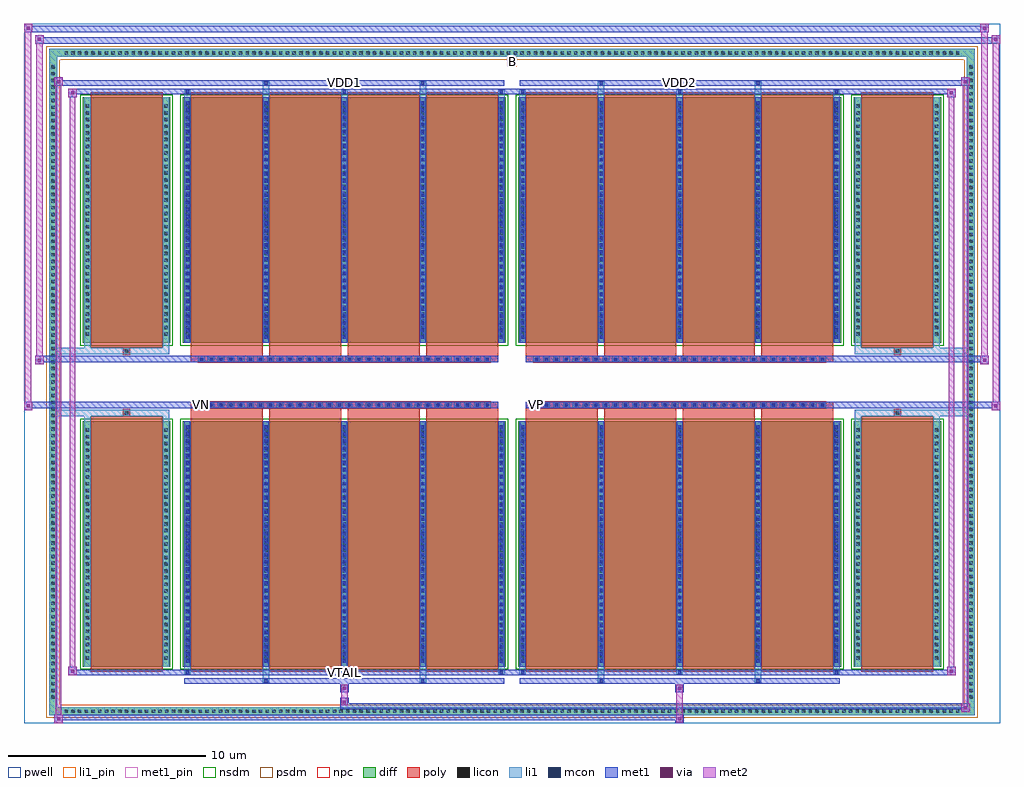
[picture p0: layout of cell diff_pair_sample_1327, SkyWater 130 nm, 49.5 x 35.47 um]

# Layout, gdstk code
import gdstk
lib = gdstk.Library(unit=1e-6, precision=5e-09)
def R(c, l, rs):  # rectangles x0, y0, x1, y1
    for r in rs: c.add(gdstk.rectangle(r[:2], r[2:], *l))
def A(c, l, x, y, w, h, nx, ny, dx, dy):  # array of equal rectangles
    R(c, l, [(x+i*dx, y+j*dy, x+i*dx+w, y+j*dy+h) for i in range(nx) for j in range(ny)])
def P(c, l, *ps):  # polygons
    for p in ps: c.add(gdstk.Polygon(p, *l))
pwell = (64, 44)
diff = (65, 20)
poly = (66, 20)
licon = (66, 44)
li1_pin = (67, 16)
li1 = (67, 20)
mcon = (67, 44)
met1_pin = (68, 16)
met1 = (68, 20)
via = (68, 44)
met2 = (69, 20)
nsdm = (93, 44)
psdm = (94, 20)
npc = (95, 20)

diff_pair_sample_1327 = lib.new_cell('diff_pair_sample_1327')
R(diff_pair_sample_1327, pwell, [(-24.75,-17.3,24.75,18.17), (-22.07,-15.49,-0.01,-0.795), (0.01,-15.49,22.07,-0.795), (-22.07,0.795,-0.01,15.49), (0.01,0.795,22.07,15.49)])
A(diff_pair_sample_1327, diff, -22.815, -16.9, 0.41, 0.41, 134, 2, 0.34, 33.39)
A(diff_pair_sample_1327, diff, -23.48, -16.185, 0.41, 0.41, 1, 95, 0, 0.34)
A(diff_pair_sample_1327, diff, 23.07, -16.185, 0.41, 0.41, 1, 95, 0, 0.34)
R(diff_pair_sample_1327, diff, [(-22.815,-16.9,22.815,-16.49), (-23.48,-16.185,-23.07,16.185), (23.07,-16.185,23.48,16.185), (-21.76,-14.445,-17.33,-1.985), (-16.69,-14.445,-0.32,-1.985), (0.32,-14.445,16.69,-1.985), (17.33,-14.445,21.76,-1.985), (-21.76,1.985,-17.33,14.445), (-16.69,1.985,-0.32,14.445), (0.32,1.985,16.69,14.445), (17.33,1.985,21.76,14.445), (-22.815,16.49,22.815,16.9)])
P(diff_pair_sample_1327, diff, [(23.48,16.9),(-23.48,16.9),(-23.48,-16.49),(-23.07,-16.49),(-23.07,16.49),(23.07,16.49),(23.07,-16.49),(-23.07,-16.49),(-23.48,-16.49),(-23.48,-16.9),(23.48,-16.9)])
A(diff_pair_sample_1327, poly, -16.3, -14.695, 3.65, 12.96, 4, 2, 3.98, 16.43)
A(diff_pair_sample_1327, poly, 0.71, -14.695, 3.65, 12.96, 4, 2, 3.98, 16.43)
A(diff_pair_sample_1327, poly, -16.3, -1.735, 3.65, 0.41, 4, 2, 3.98, 3.06)
A(diff_pair_sample_1327, poly, 0.71, -1.735, 3.65, 0.41, 4, 2, 3.98, 3.06)
A(diff_pair_sample_1327, poly, -15.92, -1.325, 0.33, 0.33, 30, 2, 0.5, 2.32)
A(diff_pair_sample_1327, poly, 1.09, -1.325, 0.33, 0.33, 30, 2, 0.5, 2.32)
R(diff_pair_sample_1327, poly, [(-21.37,-14.695,-17.72,-1.735), (17.72,-14.695,21.37,-1.735), (-19.71,-1.735,-19.38,-1.405), (-19.71,-1.735,-19.38,-1.405), (19.38,-1.735,19.71,-1.405), (19.38,-1.735,19.71,-1.405), (-16.3,-1.325,-0.71,-0.995), (0.71,-1.325,16.3,-0.995), (-16.3,0.995,-0.71,1.325), (0.71,0.995,16.3,1.325), (-19.71,1.405,-19.38,1.735), (-19.71,1.405,-19.38,1.735), (19.38,1.405,19.71,1.735), (19.38,1.405,19.71,1.735), (-21.37,1.735,-17.72,14.695), (17.72,1.735,21.37,14.695)])
A(diff_pair_sample_1327, licon, -22.695, -16.78, 0.17, 0.17, 134, 2, 0.34, 33.39)
A(diff_pair_sample_1327, licon, -23.36, -16.065, 0.17, 0.17, 1, 95, 0, 0.34)
A(diff_pair_sample_1327, licon, 23.19, -16.065, 0.17, 0.17, 1, 95, 0, 0.34)
A(diff_pair_sample_1327, licon, -21.62, -14.08, 0.17, 0.17, 1, 35, 0, 0.34)
A(diff_pair_sample_1327, licon, -17.64, -14.08, 0.17, 0.17, 1, 35, 0, 0.34)
A(diff_pair_sample_1327, licon, -16.55, -14.08, 0.17, 0.17, 5, 35, 3.98, 0.34)
A(diff_pair_sample_1327, licon, 0.46, -14.08, 0.17, 0.17, 5, 35, 3.98, 0.34)
A(diff_pair_sample_1327, licon, 17.47, -14.08, 0.17, 0.17, 1, 35, 0, 0.34)
A(diff_pair_sample_1327, licon, 21.45, -14.08, 0.17, 0.17, 1, 35, 0, 0.34)
A(diff_pair_sample_1327, licon, -15.84, -1.245, 0.17, 0.17, 30, 2, 0.5, 2.32)
A(diff_pair_sample_1327, licon, 1.17, -1.245, 0.17, 0.17, 30, 2, 0.5, 2.32)
A(diff_pair_sample_1327, licon, -21.62, 2.35, 0.17, 0.17, 1, 35, 0, 0.34)
A(diff_pair_sample_1327, licon, -17.64, 2.35, 0.17, 0.17, 1, 35, 0, 0.34)
A(diff_pair_sample_1327, licon, -16.55, 2.35, 0.17, 0.17, 5, 35, 3.98, 0.34)
A(diff_pair_sample_1327, licon, 0.46, 2.35, 0.17, 0.17, 5, 35, 3.98, 0.34)
A(diff_pair_sample_1327, licon, 17.47, 2.35, 0.17, 0.17, 1, 35, 0, 0.34)
A(diff_pair_sample_1327, licon, 21.45, 2.35, 0.17, 0.17, 1, 35, 0, 0.34)
R(diff_pair_sample_1327, licon, [(-19.63,-1.655,-19.46,-1.485), (19.46,-1.655,19.63,-1.485), (-19.63,1.485,-19.46,1.655), (19.46,1.485,19.63,1.655)])
R(diff_pair_sample_1327, li1_pin, [(-0.25,15.99,0.25,16.49)])
A(diff_pair_sample_1327, li1, -22.775, -16.86, 0.33, 0.33, 134, 2, 0.34, 33.39)
A(diff_pair_sample_1327, li1, -23.44, -16.145, 0.33, 0.33, 1, 95, 0, 0.34)
A(diff_pair_sample_1327, li1, 23.11, -16.145, 0.33, 0.33, 1, 95, 0, 0.34)
A(diff_pair_sample_1327, li1, -16.63, -14.82, 0.33, 0.375, 3, 2, 7.96, 29.265)
A(diff_pair_sample_1327, li1, -16.55, -14.82, 0.17, 0.17, 3, 2, 7.96, 29.47)
A(diff_pair_sample_1327, li1, 0.38, -14.82, 0.33, 0.375, 3, 2, 7.96, 29.265)
A(diff_pair_sample_1327, li1, 0.46, -14.82, 0.17, 0.17, 3, 2, 7.96, 29.47)
A(diff_pair_sample_1327, li1, -16.63, -14.445, 0.33, 12.46, 5, 2, 3.98, 16.43)
A(diff_pair_sample_1327, li1, 0.38, -14.445, 0.33, 12.46, 5, 2, 3.98, 16.43)
A(diff_pair_sample_1327, li1, -16.55, -14.24, 0.17, 0.17, 5, 34, 3.98, 0.36)
A(diff_pair_sample_1327, li1, -16.55, -14.24, 0.17, 12.05, 5, 2, 3.98, 16.43)
A(diff_pair_sample_1327, li1, 0.46, -14.24, 0.17, 0.17, 5, 34, 3.98, 0.36)
A(diff_pair_sample_1327, li1, 0.46, -14.24, 0.17, 12.05, 5, 2, 3.98, 16.43)
A(diff_pair_sample_1327, li1, -21.7, -14.16, 0.33, 0.33, 1, 35, 0, 0.34)
A(diff_pair_sample_1327, li1, -17.72, -14.16, 0.33, 0.33, 1, 35, 0, 0.34)
A(diff_pair_sample_1327, li1, -16.63, -14.16, 0.33, 0.33, 5, 35, 3.98, 0.34)
A(diff_pair_sample_1327, li1, 0.38, -14.16, 0.33, 0.33, 5, 35, 3.98, 0.34)
A(diff_pair_sample_1327, li1, 17.39, -14.16, 0.33, 0.33, 1, 35, 0, 0.34)
A(diff_pair_sample_1327, li1, 21.37, -14.16, 0.33, 0.33, 1, 35, 0, 0.34)
A(diff_pair_sample_1327, li1, -15.92, -1.325, 0.33, 0.33, 30, 2, 0.5, 2.32)
A(diff_pair_sample_1327, li1, 1.09, -1.325, 0.33, 0.33, 30, 2, 0.5, 2.32)
A(diff_pair_sample_1327, li1, -16.55, 2.19, 0.17, 0.17, 5, 34, 3.98, 0.36)
A(diff_pair_sample_1327, li1, 0.46, 2.19, 0.17, 0.17, 5, 34, 3.98, 0.36)
A(diff_pair_sample_1327, li1, -21.7, 2.27, 0.33, 0.33, 1, 35, 0, 0.34)
A(diff_pair_sample_1327, li1, -17.72, 2.27, 0.33, 0.33, 1, 35, 0, 0.34)
A(diff_pair_sample_1327, li1, -16.63, 2.27, 0.33, 0.33, 5, 35, 3.98, 0.34)
A(diff_pair_sample_1327, li1, 0.38, 2.27, 0.33, 0.33, 5, 35, 3.98, 0.34)
A(diff_pair_sample_1327, li1, 17.39, 2.27, 0.33, 0.33, 1, 35, 0, 0.34)
A(diff_pair_sample_1327, li1, 21.37, 2.27, 0.33, 0.33, 1, 35, 0, 0.34)
R(diff_pair_sample_1327, li1, [(-23.48,-16.9,-23.07,-16.49), (-23.48,-16.9,-23.07,-16.49), (-23.07,-16.9,23.07,-16.49), (23.07,-16.9,23.48,-16.49), (23.07,-16.9,23.48,-16.49), (-23.48,-16.49,-23.07,16.49), (23.07,-16.49,23.48,16.49), (-12.65,-15.25,-12.32,-14.445), (-12.57,-15.25,-12.4,-15.08), (-4.69,-15.25,-4.36,-14.445), (-4.61,-15.25,-4.44,-15.08), (4.36,-15.25,4.69,-14.445), (4.44,-15.25,4.61,-15.08), (12.32,-15.25,12.65,-14.445), (12.4,-15.25,12.57,-15.08), (-21.7,-14.445,-21.37,-1.985), (-17.72,-14.445,-17.39,-1.985), (17.39,-14.445,17.72,-1.985), (21.37,-14.445,21.7,-1.985), (-21.7,-1.985,-21.37,-1.405), (-17.72,-1.985,-17.39,-1.405), (17.39,-1.985,17.72,-1.405), (21.37,-1.985,21.7,-1.405), (-23.48,-1.735,-19.71,-1.405), (-21.7,-1.735,-19.71,-1.405), (-19.71,-1.735,-19.38,-1.405), (-19.38,-1.735,-17.39,-1.405), (17.39,-1.735,19.38,-1.405), (19.38,-1.735,19.71,-1.405), (19.38,-1.735,23.48,-1.405), (19.71,-1.735,21.7,-1.405), (-23.48,1.405,-19.71,1.735), (-21.7,1.405,-19.71,1.735), (-21.7,1.405,-21.37,1.985), (-19.71,1.405,-19.38,1.735), (-19.38,1.405,-17.39,1.735), (-17.72,1.405,-17.39,1.985), (17.39,1.405,19.38,1.735), (17.39,1.405,17.72,1.985), (19.38,1.405,19.71,1.735), (19.38,1.405,23.48,1.735), (19.71,1.405,21.7,1.735), (21.37,1.405,21.7,1.985), (-21.7,1.985,-21.37,14.445), (-17.72,1.985,-17.39,14.445), (17.39,1.985,17.72,14.445), (21.37,1.985,21.7,14.445), (-12.65,14.445,-12.32,15.25), (-4.69,14.445,-4.36,15.25), (4.36,14.445,4.69,15.25), (12.32,14.445,12.65,15.25), (-12.57,15.08,-12.4,15.25), (-4.61,15.08,-4.44,15.25), (4.44,15.08,4.61,15.25), (12.4,15.08,12.57,15.25), (-23.48,16.49,-23.07,16.9), (-23.48,16.49,-23.07,16.9), (-23.07,16.49,23.07,16.9), (23.07,16.49,23.48,16.9), (23.07,16.49,23.48,16.9)])
A(diff_pair_sample_1327, mcon, -16.55, -14.82, 0.17, 0.17, 3, 2, 7.96, 29.47)
A(diff_pair_sample_1327, mcon, 0.46, -14.82, 0.17, 0.17, 3, 2, 7.96, 29.47)
A(diff_pair_sample_1327, mcon, -16.55, -14.24, 0.17, 0.17, 5, 34, 3.98, 0.36)
A(diff_pair_sample_1327, mcon, 0.46, -14.24, 0.17, 0.17, 5, 34, 3.98, 0.36)
A(diff_pair_sample_1327, mcon, -15.84, -1.245, 0.17, 0.17, 30, 2, 0.5, 2.32)
A(diff_pair_sample_1327, mcon, 1.17, -1.245, 0.17, 0.17, 30, 2, 0.5, 2.32)
A(diff_pair_sample_1327, mcon, -16.55, 2.19, 0.17, 0.17, 5, 34, 3.98, 0.36)
A(diff_pair_sample_1327, mcon, 0.46, 2.19, 0.17, 0.17, 5, 34, 3.98, 0.36)
R(diff_pair_sample_1327, mcon, [(-12.57,-15.25,-12.4,-15.08), (-4.61,-15.25,-4.44,-15.08), (4.44,-15.25,4.61,-15.08), (12.4,-15.25,12.57,-15.08), (-12.57,15.08,-12.4,15.25), (-4.61,15.08,-4.44,15.25), (4.44,15.08,4.61,15.25), (12.4,15.08,12.57,15.25)])
R(diff_pair_sample_1327, met1_pin, [(-8.64,-14.86,-8.37,-14.59), (-15.89,-1.285,-15.62,-1.015), (1.12,-1.285,1.39,-1.015), (-8.64,15.04,-8.37,15.31), (8.37,15.04,8.64,15.31)])
A(diff_pair_sample_1327, met1, -16.61, -14.88, 0.29, 0.29, 3, 2, 7.96, 29.47)
A(diff_pair_sample_1327, met1, 0.4, -14.88, 0.29, 0.29, 3, 2, 7.96, 29.47)
A(diff_pair_sample_1327, met1, -16.61, -14.445, 0.29, 12.46, 5, 2, 3.98, 16.43)
A(diff_pair_sample_1327, met1, 0.4, -14.445, 0.29, 12.46, 5, 2, 3.98, 16.43)
A(diff_pair_sample_1327, met1, -16.61, -14.3, 0.29, 0.29, 5, 34, 3.98, 0.36)
A(diff_pair_sample_1327, met1, 0.4, -14.3, 0.29, 0.29, 5, 34, 3.98, 0.36)
A(diff_pair_sample_1327, met1, -15.9, -1.305, 0.29, 0.29, 30, 2, 0.5, 2.32)
A(diff_pair_sample_1327, met1, 1.11, -1.305, 0.29, 0.29, 30, 2, 0.5, 2.32)
A(diff_pair_sample_1327, met1, -16.61, 2.13, 0.29, 0.29, 5, 34, 3.98, 0.36)
A(diff_pair_sample_1327, met1, 0.4, 2.13, 0.29, 0.29, 5, 34, 3.98, 0.36)
R(diff_pair_sample_1327, met1, [(-23.21,-17.3,-22.78,-16.87), (8.29,-17.3,8.72,-16.87), (-23.21,-17.16,8.72,-16.87), (22.78,-16.73,23.21,-16.3), (-8.72,-16.59,23.21,-16.3), (-8.72,-16.45,-8.29,-16.02), (-8.72,-15.74,-8.29,-15.31), (8.29,-15.74,8.72,-15.31), (-16.61,-15.31,-0.4,-15.02), (-12.63,-15.31,-12.34,-15.02), (-4.67,-15.31,-4.38,-15.02), (0.4,-15.31,16.61,-15.02), (4.38,-15.31,4.67,-15.02), (12.34,-15.31,12.63,-15.02), (-22.5,-14.88,-22.07,-14.45), (-22.5,-14.88,-16.61,-14.59), (-16.61,-14.88,-0.4,-14.59), (-0.4,-14.88,0.4,-14.59), (0.4,-14.88,16.61,-14.59), (16.61,-14.88,22.5,-14.59), (22.07,-14.88,22.5,-14.45), (-24.75,-1.425,-24.32,-0.995), (24.32,-1.425,24.75,-0.995), (-24.75,-1.325,-0.71,-0.995), (-16.3,-1.325,-0.71,-0.995), (0.71,-1.325,16.3,-0.995), (0.71,-1.325,24.75,-0.995), (-24.18,0.895,-23.75,1.325), (23.75,0.895,24.18,1.325), (-24.18,0.995,-16.3,1.325), (-16.3,0.995,-0.71,1.325), (0.71,0.995,16.3,1.325), (16.3,0.995,24.18,1.325), (-22.5,14.45,-22.07,14.88), (22.07,14.45,22.5,14.88), (-22.5,14.59,-16.61,14.88), (-16.61,14.59,-0.4,14.88), (-0.4,14.59,0.4,14.88), (0.4,14.59,16.61,14.88), (16.61,14.59,22.5,14.88), (-23.21,15.02,-22.78,15.45), (-23.21,15.02,-16.61,15.31), (-16.61,15.02,-0.4,15.31), (-12.63,15.02,-12.34,15.31), (-4.67,15.02,-4.38,15.31), (0.4,15.02,16.61,15.31), (4.38,15.02,4.67,15.31), (12.34,15.02,12.63,15.31), (16.61,15.02,23.21,15.31), (22.78,15.02,23.21,15.45), (-24.18,17.17,-23.75,17.6), (-24.18,17.17,-22.07,17.5), (-22.07,17.17,22.07,17.5), (22.07,17.17,24.75,17.5), (24.32,17.17,24.75,17.6), (-24.75,17.74,-24.32,18.17), (-24.75,17.74,-22.07,18.07), (-22.07,17.74,22.07,18.07), (22.07,17.74,24.18,18.07), (23.75,17.74,24.18,18.17)])
R(diff_pair_sample_1327, via, [(-23.07,-17.16,-22.92,-17.01), (8.43,-17.16,8.58,-17.01), (22.92,-16.59,23.07,-16.44), (-8.58,-16.31,-8.43,-16.16), (-8.58,-15.6,-8.43,-15.45), (8.43,-15.6,8.58,-15.45), (-22.36,-14.74,-22.21,-14.59), (22.21,-14.74,22.36,-14.59), (-24.61,-1.285,-24.46,-1.135), (24.46,-1.285,24.61,-1.135), (-24.04,1.035,-23.89,1.185), (23.89,1.035,24.04,1.185), (-22.36,14.59,-22.21,14.74), (22.21,14.59,22.36,14.74), (-23.07,15.16,-22.92,15.31), (22.92,15.16,23.07,15.31), (-24.04,17.31,-23.89,17.46), (24.46,17.31,24.61,17.46), (-24.61,17.88,-24.46,18.03), (23.89,17.88,24.04,18.03)])
R(diff_pair_sample_1327, met2, [(-23.21,-17.3,-22.78,-16.87), (-23.14,-17.3,-22.85,15.45), (-22.85,-17.3,-22.78,-16.87), (-23.16,-17.25,-22.83,-16.92), (8.34,-17.25,8.67,-16.92), (8.34,-16.92,8.67,-15.69), (22.78,-16.73,23.21,-16.3), (22.85,-16.73,23.14,15.45), (23.14,-16.73,23.21,-16.3), (22.83,-16.68,23.16,-16.35), (-8.67,-16.4,-8.34,-16.07), (-8.67,-16.07,-8.34,-15.69), (-8.67,-15.69,-8.34,-15.36), (8.34,-15.69,8.67,-15.36), (-22.5,-14.88,-22.07,-14.45), (-22.43,-14.88,-22.14,14.88), (-22.14,-14.88,-22.07,-14.45), (22.07,-14.88,22.5,-14.45), (22.14,-14.88,22.43,14.88), (22.43,-14.88,22.5,-14.45), (-22.45,-14.83,-22.12,-14.5), (22.12,-14.83,22.45,-14.5), (-24.75,-1.425,-24.32,-0.995), (-24.7,-1.425,-24.37,18.17), (-24.37,-1.425,-24.32,-0.995), (24.32,-1.425,24.75,-0.995), (24.37,-1.425,24.7,17.6), (24.7,-1.425,24.75,-0.995), (-24.7,-1.375,-24.37,-1.045), (24.37,-1.375,24.7,-1.045), (-24.18,0.895,-23.75,1.325), (-24.13,0.895,-23.8,17.6), (-23.8,0.895,-23.75,1.325), (23.75,0.895,24.18,1.325), (23.8,0.895,24.13,18.17), (24.13,0.895,24.18,1.325), (-24.13,0.945,-23.8,1.275), (23.8,0.945,24.13,1.275), (-22.5,14.45,-22.07,14.88), (-22.14,14.45,-22.07,14.88), (22.07,14.45,22.5,14.88), (22.43,14.45,22.5,14.88), (-22.45,14.5,-22.12,14.83), (22.12,14.5,22.45,14.83), (-23.21,15.02,-22.78,15.45), (-22.85,15.02,-22.78,15.45), (22.78,15.02,23.21,15.45), (23.14,15.02,23.21,15.45), (-23.16,15.07,-22.83,15.4), (22.83,15.07,23.16,15.4), (-24.18,17.17,-23.75,17.6), (-23.8,17.17,-23.75,17.6), (24.32,17.17,24.75,17.6), (24.7,17.17,24.75,17.6), (-24.13,17.22,-23.8,17.55), (24.37,17.22,24.7,17.55), (-24.75,17.74,-24.32,18.17), (-24.37,17.74,-24.32,18.17), (23.75,17.74,24.18,18.17), (24.13,17.74,24.18,18.17), (-24.7,17.79,-24.37,18.12), (23.8,17.79,24.13,18.12)])
R(diff_pair_sample_1327, nsdm, [(-21.89,-14.575,-17.2,-1.855), (-16.82,-14.575,-0.19,-1.855), (0.19,-14.575,16.82,-1.855), (17.2,-14.575,21.89,-1.855), (-21.89,1.855,-17.2,14.575), (-16.82,1.855,-0.19,14.575), (0.19,1.855,16.82,14.575), (17.2,1.855,21.89,14.575)])
P(diff_pair_sample_1327, psdm, [(23.61,17.03),(-23.61,17.03),(-23.61,-16.36),(-22.94,-16.36),(-22.94,16.36),(22.94,16.36),(22.94,-16.36),(-22.94,-16.36),(-23.61,-16.36),(-23.61,-17.03),(23.61,-17.03)])
A(diff_pair_sample_1327, npc, -15.94, -1.345, 0.37, 0.37, 30, 2, 0.5, 2.32)
A(diff_pair_sample_1327, npc, 1.07, -1.345, 0.37, 0.37, 30, 2, 0.5, 2.32)
R(diff_pair_sample_1327, npc, [(-19.73,-1.755,-19.36,-1.385), (19.36,-1.755,19.73,-1.385), (-15.94,-1.345,-15.07,-0.975), (-15.94,-1.345,-15.07,-0.975), (-15.44,-1.345,-14.57,-0.975), (-15.44,-1.345,-14.57,-0.975), (-14.94,-1.345,-14.07,-0.975), (-14.94,-1.345,-14.07,-0.975), (-14.44,-1.345,-13.57,-0.975), (-14.44,-1.345,-13.57,-0.975), (-13.94,-1.345,-13.07,-0.975), (-13.94,-1.345,-13.07,-0.975), (-13.44,-1.345,-12.57,-0.975), (-13.44,-1.345,-12.57,-0.975), (-12.94,-1.345,-12.07,-0.975), (-12.94,-1.345,-12.07,-0.975), (-12.44,-1.345,-11.57,-0.975), (-12.44,-1.345,-11.57,-0.975), (-11.94,-1.345,-11.07,-0.975), (-11.94,-1.345,-11.07,-0.975), (-11.44,-1.345,-10.57,-0.975), (-11.44,-1.345,-10.57,-0.975), (-10.94,-1.345,-10.07,-0.975), (-10.94,-1.345,-10.07,-0.975), (-10.44,-1.345,-9.57,-0.975), (-10.44,-1.345,-9.57,-0.975), (-9.94,-1.345,-9.07,-0.975), (-9.94,-1.345,-9.07,-0.975), (-9.44,-1.345,-8.57,-0.975), (-9.44,-1.345,-8.57,-0.975), (-8.94,-1.345,-8.07,-0.975), (-8.94,-1.345,-8.07,-0.975), (-8.44,-1.345,-7.57,-0.975), (-8.44,-1.345,-7.57,-0.975), (-7.94,-1.345,-7.07,-0.975), (-7.94,-1.345,-7.07,-0.975), (-7.44,-1.345,-6.57,-0.975), (-7.44,-1.345,-6.57,-0.975), (-6.94,-1.345,-6.07,-0.975), (-6.94,-1.345,-6.07,-0.975), (-6.44,-1.345,-5.57,-0.975), (-6.44,-1.345,-5.57,-0.975), (-5.94,-1.345,-5.07,-0.975), (-5.94,-1.345,-5.07,-0.975), (-5.44,-1.345,-4.57,-0.975), (-5.44,-1.345,-4.57,-0.975), (-4.94,-1.345,-4.07,-0.975), (-4.94,-1.345,-4.07,-0.975), (-4.44,-1.345,-3.57,-0.975), (-4.44,-1.345,-3.57,-0.975), (-3.94,-1.345,-3.07,-0.975), (-3.94,-1.345,-3.07,-0.975), (-3.44,-1.345,-2.57,-0.975), (-3.44,-1.345,-2.57,-0.975), (-2.94,-1.345,-2.07,-0.975), (-2.94,-1.345,-2.07,-0.975), (-2.44,-1.345,-1.57,-0.975), (-2.44,-1.345,-1.57,-0.975), (-1.94,-1.345,-1.07,-0.975), (-1.94,-1.345,-1.07,-0.975), (1.07,-1.345,1.94,-0.975), (1.07,-1.345,1.94,-0.975), (1.57,-1.345,2.44,-0.975), (1.57,-1.345,2.44,-0.975), (2.07,-1.345,2.94,-0.975), (2.07,-1.345,2.94,-0.975), (2.57,-1.345,3.44,-0.975), (2.57,-1.345,3.44,-0.975), (3.07,-1.345,3.94,-0.975), (3.07,-1.345,3.94,-0.975), (3.57,-1.345,4.44,-0.975), (3.57,-1.345,4.44,-0.975), (4.07,-1.345,4.94,-0.975), (4.07,-1.345,4.94,-0.975), (4.57,-1.345,5.44,-0.975), (4.57,-1.345,5.44,-0.975), (5.07,-1.345,5.94,-0.975), (5.07,-1.345,5.94,-0.975), (5.57,-1.345,6.44,-0.975), (5.57,-1.345,6.44,-0.975), (6.07,-1.345,6.94,-0.975), (6.07,-1.345,6.94,-0.975), (6.57,-1.345,7.44,-0.975), (6.57,-1.345,7.44,-0.975), (7.07,-1.345,7.94,-0.975), (7.07,-1.345,7.94,-0.975), (7.57,-1.345,8.44,-0.975), (7.57,-1.345,8.44,-0.975), (8.07,-1.345,8.94,-0.975), (8.07,-1.345,8.94,-0.975), (8.57,-1.345,9.44,-0.975), (8.57,-1.345,9.44,-0.975), (9.07,-1.345,9.94,-0.975), (9.07,-1.345,9.94,-0.975), (9.57,-1.345,10.44,-0.975), (9.57,-1.345,10.44,-0.975), (10.07,-1.345,10.94,-0.975), (10.07,-1.345,10.94,-0.975), (10.57,-1.345,11.44,-0.975), (10.57,-1.345,11.44,-0.975), (11.07,-1.345,11.94,-0.975), (11.07,-1.345,11.94,-0.975), (11.57,-1.345,12.44,-0.975), (11.57,-1.345,12.44,-0.975), (12.07,-1.345,12.94,-0.975), (12.07,-1.345,12.94,-0.975), (12.57,-1.345,13.44,-0.975), (12.57,-1.345,13.44,-0.975), (13.07,-1.345,13.94,-0.975), (13.07,-1.345,13.94,-0.975), (13.57,-1.345,14.44,-0.975), (13.57,-1.345,14.44,-0.975), (14.07,-1.345,14.94,-0.975), (14.07,-1.345,14.94,-0.975), (14.57,-1.345,15.44,-0.975), (14.57,-1.345,15.44,-0.975), (15.07,-1.345,15.94,-0.975), (15.07,-1.345,15.94,-0.975), (-15.94,0.975,-15.07,1.345), (-15.94,0.975,-15.07,1.345), (-15.44,0.975,-14.57,1.345), (-15.44,0.975,-14.57,1.345), (-14.94,0.975,-14.07,1.345), (-14.94,0.975,-14.07,1.345), (-14.44,0.975,-13.57,1.345), (-14.44,0.975,-13.57,1.345), (-13.94,0.975,-13.07,1.345), (-13.94,0.975,-13.07,1.345), (-13.44,0.975,-12.57,1.345), (-13.44,0.975,-12.57,1.345), (-12.94,0.975,-12.07,1.345), (-12.94,0.975,-12.07,1.345), (-12.44,0.975,-11.57,1.345), (-12.44,0.975,-11.57,1.345), (-11.94,0.975,-11.07,1.345), (-11.94,0.975,-11.07,1.345), (-11.44,0.975,-10.57,1.345), (-11.44,0.975,-10.57,1.345), (-10.94,0.975,-10.07,1.345), (-10.94,0.975,-10.07,1.345), (-10.44,0.975,-9.57,1.345), (-10.44,0.975,-9.57,1.345), (-9.94,0.975,-9.07,1.345), (-9.94,0.975,-9.07,1.345), (-9.44,0.975,-8.57,1.345), (-9.44,0.975,-8.57,1.345), (-8.94,0.975,-8.07,1.345), (-8.94,0.975,-8.07,1.345), (-8.44,0.975,-7.57,1.345), (-8.44,0.975,-7.57,1.345), (-7.94,0.975,-7.07,1.345), (-7.94,0.975,-7.07,1.345), (-7.44,0.975,-6.57,1.345), (-7.44,0.975,-6.57,1.345), (-6.94,0.975,-6.07,1.345), (-6.94,0.975,-6.07,1.345), (-6.44,0.975,-5.57,1.345), (-6.44,0.975,-5.57,1.345), (-5.94,0.975,-5.07,1.345), (-5.94,0.975,-5.07,1.345), (-5.44,0.975,-4.57,1.345), (-5.44,0.975,-4.57,1.345), (-4.94,0.975,-4.07,1.345), (-4.94,0.975,-4.07,1.345), (-4.44,0.975,-3.57,1.345), (-4.44,0.975,-3.57,1.345), (-3.94,0.975,-3.07,1.345), (-3.94,0.975,-3.07,1.345), (-3.44,0.975,-2.57,1.345), (-3.44,0.975,-2.57,1.345), (-2.94,0.975,-2.07,1.345), (-2.94,0.975,-2.07,1.345), (-2.44,0.975,-1.57,1.345), (-2.44,0.975,-1.57,1.345), (-1.94,0.975,-1.07,1.345), (-1.94,0.975,-1.07,1.345), (1.07,0.975,1.94,1.345), (1.07,0.975,1.94,1.345), (1.57,0.975,2.44,1.345), (1.57,0.975,2.44,1.345), (2.07,0.975,2.94,1.345), (2.07,0.975,2.94,1.345), (2.57,0.975,3.44,1.345), (2.57,0.975,3.44,1.345), (3.07,0.975,3.94,1.345), (3.07,0.975,3.94,1.345), (3.57,0.975,4.44,1.345), (3.57,0.975,4.44,1.345), (4.07,0.975,4.94,1.345), (4.07,0.975,4.94,1.345), (4.57,0.975,5.44,1.345), (4.57,0.975,5.44,1.345), (5.07,0.975,5.94,1.345), (5.07,0.975,5.94,1.345), (5.57,0.975,6.44,1.345), (5.57,0.975,6.44,1.345), (6.07,0.975,6.94,1.345), (6.07,0.975,6.94,1.345), (6.57,0.975,7.44,1.345), (6.57,0.975,7.44,1.345), (7.07,0.975,7.94,1.345), (7.07,0.975,7.94,1.345), (7.57,0.975,8.44,1.345), (7.57,0.975,8.44,1.345), (8.07,0.975,8.94,1.345), (8.07,0.975,8.94,1.345), (8.57,0.975,9.44,1.345), (8.57,0.975,9.44,1.345), (9.07,0.975,9.94,1.345), (9.07,0.975,9.94,1.345), (9.57,0.975,10.44,1.345), (9.57,0.975,10.44,1.345), (10.07,0.975,10.94,1.345), (10.07,0.975,10.94,1.345), (10.57,0.975,11.44,1.345), (10.57,0.975,11.44,1.345), (11.07,0.975,11.94,1.345), (11.07,0.975,11.94,1.345), (11.57,0.975,12.44,1.345), (11.57,0.975,12.44,1.345), (12.07,0.975,12.94,1.345), (12.07,0.975,12.94,1.345), (12.57,0.975,13.44,1.345), (12.57,0.975,13.44,1.345), (13.07,0.975,13.94,1.345), (13.07,0.975,13.94,1.345), (13.57,0.975,14.44,1.345), (13.57,0.975,14.44,1.345), (14.07,0.975,14.94,1.345), (14.07,0.975,14.94,1.345), (14.57,0.975,15.44,1.345), (14.57,0.975,15.44,1.345), (15.07,0.975,15.94,1.345), (15.07,0.975,15.94,1.345), (-19.73,1.385,-19.36,1.755), (19.36,1.385,19.73,1.755)])
diff_pair_sample_1327.add(gdstk.Label('VTAIL', (-8.505,-14.725), layer=68, texttype=5))
diff_pair_sample_1327.add(gdstk.Label('VN', (-15.755,-1.15), layer=68, texttype=5))
diff_pair_sample_1327.add(gdstk.Label('VP', (1.255,-1.15), layer=68, texttype=5))
diff_pair_sample_1327.add(gdstk.Label('B', (0,16.24), layer=67, texttype=5))
diff_pair_sample_1327.add(gdstk.Label('VDD2', (8.505,15.175), layer=68, texttype=5))
diff_pair_sample_1327.add(gdstk.Label('VDD1', (-8.505,15.175), layer=68, texttype=5))

lib.write_gds('diff_pair_sample_1327.gds')
